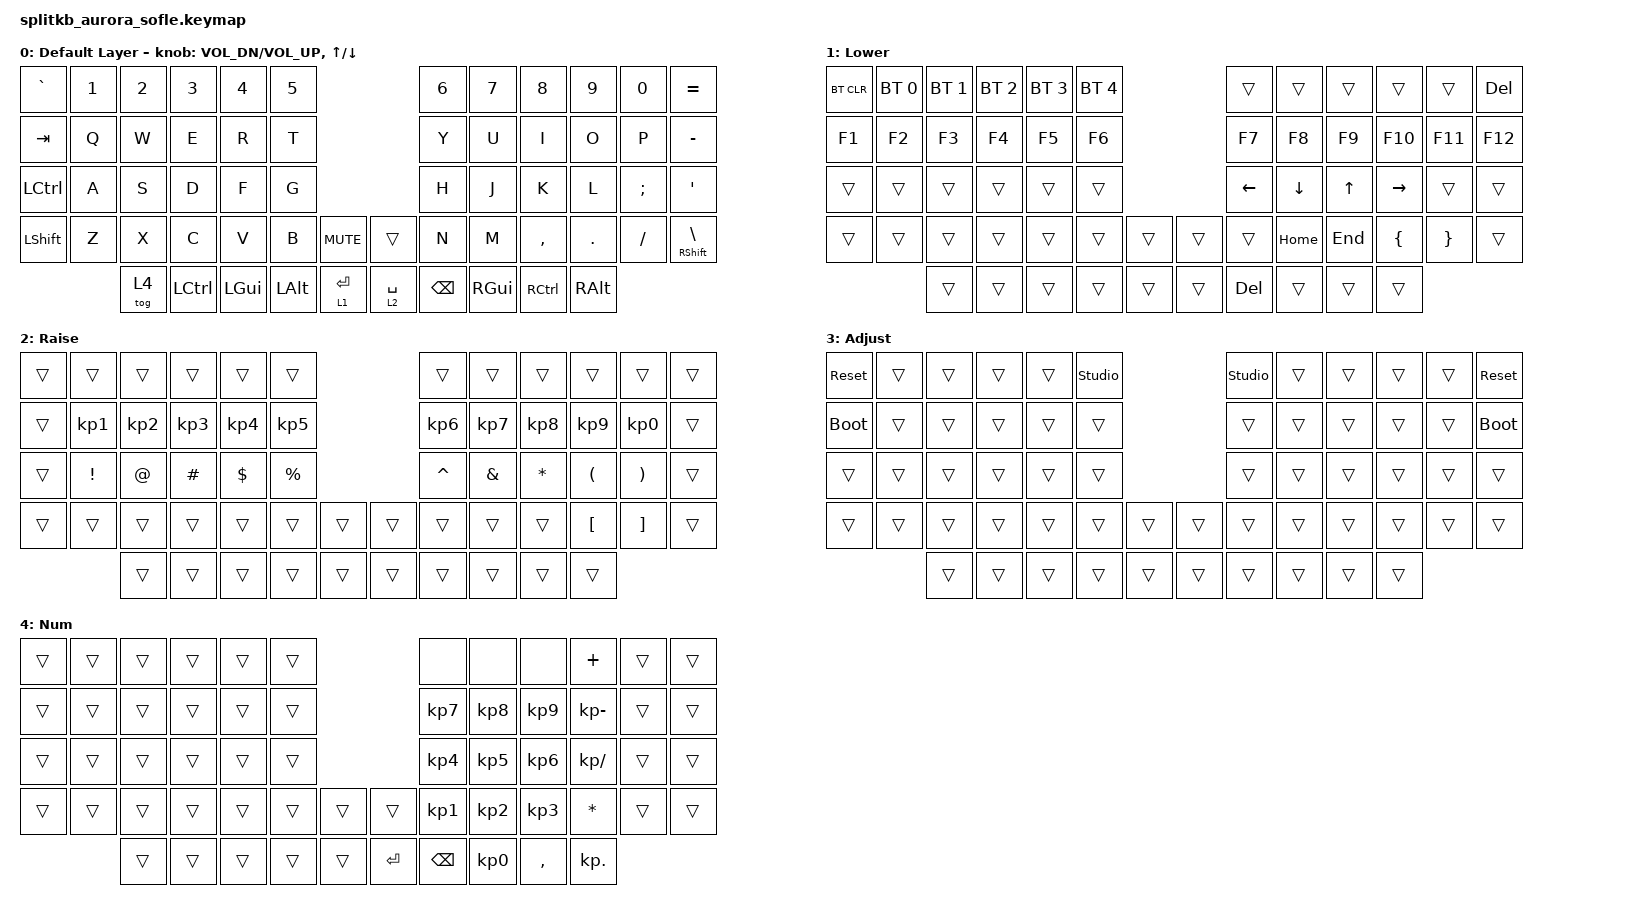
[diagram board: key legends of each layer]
/*
 * Copyright (c) 2023 The ZMK Contributors
 *
 * SPDX-License-Identifier: MIT
 */

#include <behaviors.dtsi>
#include <dt-bindings/zmk/bt.h>
#include <dt-bindings/zmk/keys.h>

/* Uncomment this block if using RGB
&led_strip {
    chain-length = <6>;
    // chain-length = <35>; // Uncomment if using both per-key and underglow LEDs
    // chain-length = <29>; // Uncomment if using only per-key LEDs.
};
 */

/ {
    conditional_layers {
        compatible = "zmk,conditional-layers";

        adjust_layer {
            if-layers = <1 2>;
            then-layer = <3>;
        };
    };

    combos {
        compatible = "zmk,combos";

        Escape {
            bindings = <&kp ESCAPE>;
            key-positions = <0 12>;
        };

        Capslock {
            bindings = <&kp CAPSLOCK>;
            key-positions = <12 24>;
        };
    };

    keymap {
        compatible = "zmk,keymap";

        default_layer {
            display-name = "Default Layer";
            bindings = <
&kp GRAVE  &kp N1  &kp N2  &kp N3     &kp N4    &kp N5                                     &kp N6         &kp N7    &kp N8     &kp N9         &kp N0    &kp EQUAL
&kp TAB    &kp Q   &kp W   &kp E      &kp R     &kp T                                      &kp Y          &kp U     &kp I      &kp O          &kp P     &kp MINUS
&kp LCTRL  &kp A   &kp S   &kp D      &kp F     &kp G                                      &kp H          &kp J     &kp K      &kp L          &kp SEMI  &kp SQT
&kp LSHFT  &kp Z   &kp X   &kp C      &kp V     &kp B         &kp K_MUTE      &trans       &kp N          &kp M     &kp COMMA  &kp DOT        &kp FSLH  &mt RSHFT BACKSLASH
                   &tog 4  &kp LCTRL  &kp LGUI  &kp LEFT_ALT  &lt 1 RETURN    &lt 2 SPACE  &kp BACKSPACE  &kp RGUI  &kp RCTRL  &kp RIGHT_ALT
            >;

            sensor-bindings =
                <&inc_dec_kp C_VOL_DN C_VOL_UP>,
                <&inc_dec_kp UP_ARROW DOWN>;
        };

        lower_layer {
            display-name = "Lower";
            bindings = <
&bt BT_CLR  &bt BT_SEL 0  &bt BT_SEL 1  &bt BT_SEL 2  &bt BT_SEL 3  &bt BT_SEL 4                    &trans      &trans    &trans   &trans     &trans    &kp DELETE
&kp F1      &kp F2        &kp F3        &kp F4        &kp F5        &kp F6                          &kp F7      &kp F8    &kp F9   &kp F10    &kp F11   &kp F12
&trans      &trans        &trans        &trans        &trans        &trans                          &kp LEFT    &kp DOWN  &kp UP   &kp RIGHT  &trans    &trans
&trans      &trans        &trans        &trans        &trans        &trans        &trans    &trans  &trans      &kp HOME  &kp END  &kp LBRC   &kp RBRC  &trans
                          &trans        &trans        &trans        &trans        &trans    &trans  &kp DELETE  &trans    &trans   &trans
            >;
        };

        raise_layer {
            display-name = "Raise";
            bindings = <
&trans  &trans           &trans     &trans     &trans      &trans                         &trans     &trans         &trans        &trans                &trans                 &trans
&trans  &kp KP_N1        &kp KP_N2  &kp KP_N3  &kp KP_N4   &kp KP_N5                      &kp KP_N6  &kp KP_N7      &kp KP_N8     &kp KP_N9             &kp KP_N0              &trans
&trans  &kp EXCLAMATION  &kp AT     &kp HASH   &kp DOLLAR  &kp PERCENT                    &kp CARET  &kp AMPERSAND  &kp ASTERISK  &kp LEFT_PARENTHESIS  &kp RIGHT_PARENTHESIS  &trans
&trans  &trans           &trans     &trans     &trans      &trans       &trans    &trans  &trans     &trans         &trans        &kp LBKT              &kp RBKT               &trans
                         &trans     &trans     &trans      &trans       &trans    &trans  &trans     &trans         &trans        &trans
            >;
        };

        adjust_layer {
            display-name = "Adjust";
            bindings = <
&sys_reset   &trans  &trans  &trans  &trans  &studio_unlock                    &studio_unlock  &trans  &trans  &trans  &trans  &sys_reset
&bootloader  &trans  &trans  &trans  &trans  &trans                            &trans          &trans  &trans  &trans  &trans  &bootloader
&trans       &trans  &trans  &trans  &trans  &trans                            &trans          &trans  &trans  &trans  &trans  &trans
&trans       &trans  &trans  &trans  &trans  &trans          &trans    &trans  &trans          &trans  &trans  &trans  &trans  &trans
                     &trans  &trans  &trans  &trans          &trans    &trans  &trans          &trans  &trans  &trans
            >;
        };

        num_layer {
            display-name = "Num";
            bindings = <
&trans  &trans  &trans  &trans  &trans  &trans                       &none          &none            &none      &kp PLUS      &trans  &trans
&trans  &trans  &trans  &trans  &trans  &trans                       &kp KP_N7      &kp KP_N8        &kp KP_N9  &kp KP_MINUS  &trans  &trans
&trans  &trans  &trans  &trans  &trans  &trans                       &kp KP_N4      &kp KP_N5        &kp KP_N6  &kp KP_SLASH  &trans  &trans
&trans  &trans  &trans  &trans  &trans  &trans  &trans    &trans     &kp KP_N1      &kp KP_N2        &kp KP_N3  &kp ASTRK     &trans  &trans
                &trans  &trans  &trans  &trans  &trans    &kp ENTER  &kp BACKSPACE  &kp KP_NUMBER_0  &kp COMMA  &kp KP_DOT
            >;
        };
    };
};
